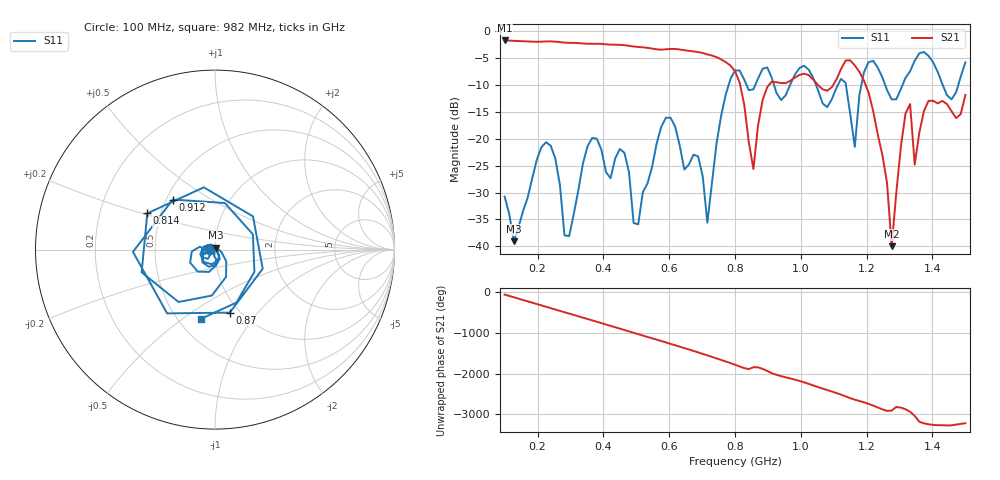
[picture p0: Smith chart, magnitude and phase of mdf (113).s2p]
! NanoVNA-App
! Date: 2025-09-25 15:39:18
! Start: 100MHz Stop: 1,5GHz Points: 101
! S-Parameter data: F S11 S21 S12 S22
# Hz S RI R 50
!  Frequency  S11_Real  S11_Imag  S21_Real  S21_Imag  S12_Real  S12_Imag  S22_Real  S22_Imag
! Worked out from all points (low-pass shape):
!   101 points, 100 MHz to 1.5 GHz, reference 50 ohm
!   highest |S21| = -1.80 dB at 100 MHz (marker M1); lowest = -39.9 dB at 1.276 GHz (marker M2)
!   |S21| within 3 dB of the highest: start of sweep to 739.4 MHz
!   lowest |S11| = -39.0 dB at 128 MHz (marker M3), VSWR 1.02, Z = 50.3 + j1.07 ohm
!   |S11| at or under -10 dB: start of sweep to 781 MHz; 1.046 GHz to 1.113 GHz (67.36 MHz wide, 6.24 % of centre); 1.256 GHz to 1.309 GHz (53.57 MHz wide, 4.18 % of centre) (the widest 3 of 7)
!   S12 and S22 are empty: the file has one direction only
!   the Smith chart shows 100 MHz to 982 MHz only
!   S11 on the Smith chart (normalised r, x): 100 MHz: 0.94, -0.01; 814 MHz: 0.42, +0.21; 870 MHz: 0.90, -0.73; 912 MHz: 0.54, +0.35; 982 MHz: 0.65, -0.59
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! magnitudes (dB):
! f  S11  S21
! 100 MHz  -30.8  -1.8
! 128 MHz  -39.0  -1.9
! 212 MHz  -21.6  -2.0
! 282 MHz  -37.9  -2.2
! 338 MHz  -24.6  -2.4
! 464 MHz  -22.6  -2.7
! 506 MHz  -35.9  -3.0
! 576 MHz  -17.8  -3.5
! 716 MHz  -35.6  -4.4
! 800 MHz  -7.4  -7.5
! 814 MHz  -7.4  -9.6
! 856 MHz  -10.9  -25.7
! 870 MHz  -8.9  -17.6
! 912 MHz  -8.8  -9.4
! 982 MHz  -8.1  -8.7
! 1.038 GHz  -8.8  -9.1
! 1.164 GHz  -21.5  -6.4
! 1.192 GHz  -7.7  -9.3
! 1.276 GHz  -12.7  -39.9
! 1.332 GHz  -7.5  -13.6
! 1.346 GHz  -5.6  -24.8
! 1.5 GHz  -5.9  -11.9
